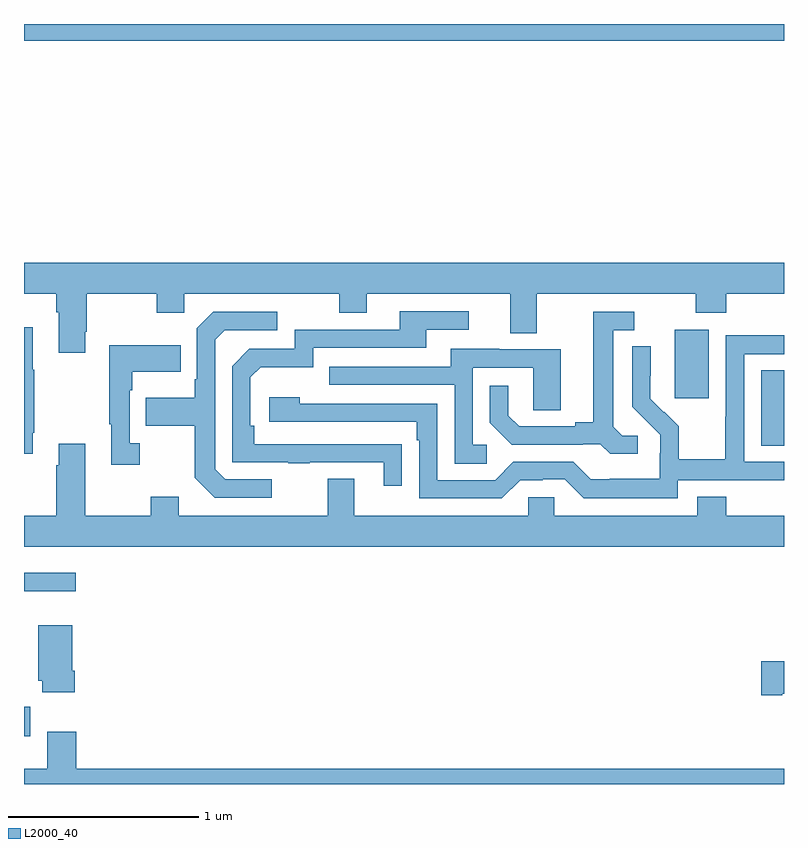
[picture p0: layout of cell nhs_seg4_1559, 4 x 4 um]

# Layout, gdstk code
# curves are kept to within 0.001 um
import gdstk
lib = gdstk.Library(unit=1e-6, precision=1e-09)
def R(c, l, rs):  # rectangles x0, y0, x1, y1
    for r in rs: c.add(gdstk.rectangle(r[:2], r[2:], *l))
def P(c, l, *ps):  # polygons
    for p in ps: c.add(gdstk.Polygon(p, *l))
L2000_40 = (2000, 40)

nhs_seg4_1559 = lib.new_cell('nhs_seg4_1559')
R(nhs_seg4_1559, L2000_40, [(191,801.152,191.032,801.306), (191,801.915,191.272,802.012), (194.879,802.681,195,803.078), (194.426,802.929,194.605,803.29), (191,804.812,195,804.9)])
P(nhs_seg4_1559, L2000_40, [(191.323,803.281),(191.331,803.281),(191.331,803.48),(191.698,803.48),(191.698,803.381),(191.844,803.381),(191.844,803.48),(192.658,803.48),(192.658,803.381),(192.805,803.381),(192.805,803.48),(193.559,803.48),(193.559,803.272),(193.699,803.272),(193.699,803.48),(194.536,803.48),(194.536,803.381),(194.696,803.381),(194.696,803.48),(195,803.48),(195,803.644),(191,803.644),(191,803.48),(191.171,803.48),(191.171,803.384),(191.183,803.384),(191.183,803.169),(191.323,803.169)],
  [(192.989,802.688),(192.212,802.689),(192.212,802.786),(192.192,802.786),(192.192,803.04),(192.245,803.093),(192.522,803.093),(192.522,803.196),(193.117,803.196),(193.117,803.292),(193.342,803.292),(193.342,803.388),(192.977,803.388),(192.977,803.292),(192.426,803.292),(192.426,803.19),(192.186,803.19),(192.096,803.1),(192.096,802.593),(192.391,802.593),(192.391,802.588),(192.503,802.588),(192.503,802.593),(192.893,802.593),(192.893,802.47),(192.989,802.47)],
  [(192.304,802.503),(192.06,802.503),(192.006,802.557),(192.006,803.238),(192.057,803.289),(192.334,803.289),(192.334,803.385),(191.997,803.385),(191.91,803.298),(191.91,803.029),(191.898,803.029),(191.898,802.933),(191.641,802.933),(191.641,802.786),(191.898,802.786),(191.898,802.513),(192.003,802.407),(192.304,802.407)],
  [(194.23,802.734),(194.148,802.734),(194.101,802.781),(194.101,803.289),(194.212,803.289),(194.212,803.385),(193.997,803.385),(193.997,802.805),(193.901,802.805),(193.901,802.782),(193.606,802.782),(193.549,802.839),(193.549,802.996),(193.452,802.996),(193.452,802.802),(193.568,802.686),(193.94,802.686),(193.94,802.689),(194.034,802.689),(194.086,802.637),(194.23,802.637)],
  [(191.047,802.75),(191.055,802.75),(191.055,803.081),(191.047,803.081),(191.047,803.305),(191,803.305),(191,802.638),(191.047,802.638)],
  [(194.442,802.5),(195,802.5),(195,802.596),(194.79,802.596),(194.79,803.163),(195,803.163),(195,803.262),(194.694,803.262),(194.694,802.832),(194.692,802.832),(194.692,802.609),(194.447,802.609),(194.447,802.783),(194.37,802.86),(194.367,802.857),(194.297,802.928),(194.298,803.204),(194.202,803.204),(194.202,802.886),(194.348,802.738),(194.348,802.641),(194.346,802.641),(194.346,802.507),(194.083,802.507),(194.083,802.503),(193.983,802.503),(193.89,802.596),(193.575,802.596),(193.479,802.5),(193.176,802.5),(193.176,802.902),(192.452,802.902),(192.452,802.936),(192.291,802.936),(192.291,802.806),(193.067,802.806),(193.067,802.709),(193.08,802.709),(193.08,802.404),(193.515,802.404),(193.611,802.5),(193.73,802.5),(193.73,802.503),(193.845,802.503),(193.945,802.403),(194.442,802.403)],
  [(191.608,802.694),(191.556,802.694),(191.556,802.973),(191.569,802.973),(191.569,803.069),(191.825,803.069),(191.825,803.209),(191.448,803.209),(191.448,802.793),(191.459,802.793),(191.459,802.581),(191.608,802.581)],
  [(193.435,802.686),(193.362,802.686),(193.362,803.091),(193.68,803.091),(193.68,802.867),(193.825,802.867),(193.825,803.187),(193.501,803.187),(193.501,803.191),(193.247,803.191),(193.247,803.097),(192.607,803.097),(192.607,803.001),(193.266,803.001),(193.266,802.585),(193.435,802.585)],
  [(195,802.312),(194.696,802.312),(194.696,802.411),(194.543,802.411),(194.543,802.312),(193.791,802.312),(193.791,802.41),(193.653,802.41),(193.653,802.312),(192.739,802.312),(192.739,802.507),(192.599,802.507),(192.599,802.312),(191.815,802.312),(191.815,802.411),(191.668,802.411),(191.668,802.312),(191.323,802.312),(191.323,802.69),(191.183,802.69),(191.183,802.577),(191.171,802.577),(191.171,802.312),(191,802.312),(191,802.148),(195,802.148)],
  [(191.267,801.496),(191.254,801.496),(191.254,801.736),(191.075,801.736),(191.075,801.444),(191.096,801.444),(191.096,801.384),(191.267,801.384)],
  [(194.992,801.374),(195,801.374),(195,801.545),(194.88,801.545),(194.88,801.367),(194.992,801.367)],
  [(195,800.98),(191.276,800.98),(191.276,801.175),(191.123,801.175),(191.123,800.98),(191,800.98),(191,800.9),(195,800.9)])

lib.write_gds('nhs_seg4_1559.gds')
